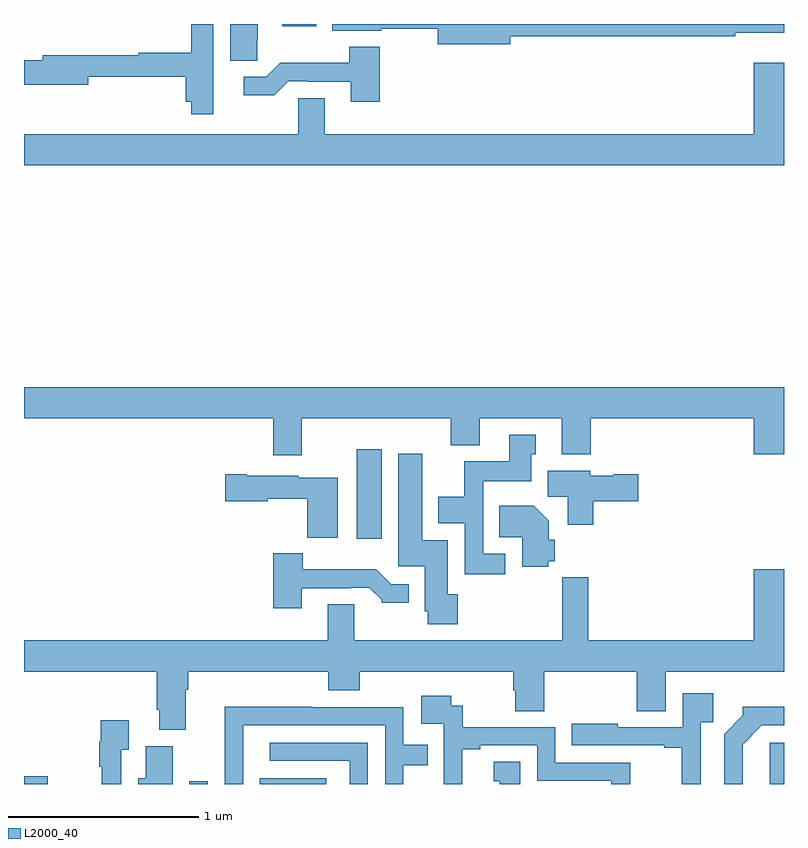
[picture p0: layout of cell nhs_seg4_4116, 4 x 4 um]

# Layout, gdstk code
import gdstk
lib = gdstk.Library(unit=1e-6, precision=1e-09)
def R(c, l, rs):  # rectangles x0, y0, x1, y1
    for r in rs: c.add(gdstk.rectangle(r[:2], r[2:], *l))
def P(c, l, *ps):  # polygons
    for p in ps: c.add(gdstk.Polygon(p, *l))
L2000_40 = (2000, 40)

nhs_seg4_4116 = lib.new_cell('nhs_seg4_4116')
R(nhs_seg4_4116, L2000_40, [(329,790.9,329.125,790.94), (329.871,790.9,329.967,790.915), (330.242,790.9,330.592,790.93), (332.924,790.9,333,791.116), (330.752,792.192,330.883,792.661), (330.36,794.888,330.537,794.9)])
P(nhs_seg4_4116, L2000_40, [(331.558,794.836),(332.744,794.836),(332.744,794.855),(333,794.855),(333,794.9),(330.622,794.9),(330.622,794.864),(330.88,794.864),(330.88,794.875),(331.178,794.875),(331.178,794.794),(331.558,794.794)],
  [(329.997,794.9),(329.881,794.9),(329.881,794.75),(329.604,794.75),(329.604,794.735),(329.099,794.735),(329.099,794.709),(329,794.709),(329,794.579),(329.338,794.579),(329.338,794.622),(329.852,794.622),(329.852,794.492),(329.881,794.492),(329.881,794.424),(329.997,794.424)],
  [(330.228,794.818),(330.229,794.818),(330.229,794.9),(330.086,794.9),(330.086,794.707),(330.228,794.707)],
  [(330.872,794.779),(330.712,794.779),(330.712,794.695),(330.349,794.695),(330.276,794.622),(330.156,794.622),(330.156,794.525),(330.317,794.525),(330.39,794.598),(330.49,794.598),(330.49,794.595),(330.719,794.595),(330.719,794.49),(330.872,794.49)],
  [(333,794.695),(332.84,794.695),(332.84,794.32),(330.583,794.32),(330.583,794.51),(330.444,794.51),(330.444,794.32),(329,794.32),(329,794.156),(333,794.156)],
  [(330.463,792.824),(331.247,792.824),(331.247,792.683),(331.399,792.683),(331.399,792.824),(331.829,792.824),(331.829,792.635),(331.982,792.635),(331.982,792.824),(332.84,792.824),(332.84,792.636),(333,792.636),(333,792.988),(329,792.988),(329,792.824),(330.311,792.824),(330.311,792.63),(330.463,792.63)],
  [(331.534,792.111),(331.416,792.111),(331.416,792.494),(331.669,792.494),(331.669,792.636),(331.693,792.636),(331.693,792.739),(331.553,792.739),(331.553,792.598),(331.318,792.598),(331.318,792.412),(331.181,792.412),(331.181,792.272),(331.32,792.272),(331.32,792.003),(331.534,792.003)],
  [(331.283,791.898),(331.231,791.898),(331.231,792.184),(331.096,792.184),(331.096,792.637),(330.971,792.637),(330.971,792.045),(331.109,792.045),(331.109,791.808),(331.126,791.808),(331.126,791.742),(331.283,791.742)],
  [(331.997,792.389),(332.233,792.389),(332.233,792.531),(332.1,792.531),(332.1,792.523),(331.98,792.523),(331.98,792.55),(331.757,792.55),(331.757,792.412),(331.862,792.412),(331.862,792.264),(331.997,792.264)],
  [(330.652,792.511),(330.444,792.511),(330.444,792.523),(330.172,792.523),(330.172,792.531),(330.06,792.531),(330.06,792.389),(330.282,792.389),(330.282,792.401),(330.49,792.401),(330.49,792.197),(330.652,792.197)],
  [(331.758,792.072),(331.793,792.072),(331.793,792.186),(331.762,792.186),(331.762,792.286),(331.684,792.364),(331.501,792.364),(331.501,792.2),(331.622,792.2),(331.622,792.043),(331.758,792.043)],
  [(330.463,791.931),(330.719,791.931),(330.719,791.934),(330.818,791.934),(330.882,791.87),(330.882,791.855),(331.024,791.855),(331.024,791.952),(330.933,791.952),(330.855,792.031),(330.466,792.031),(330.466,792.115),(330.311,792.115),(330.311,791.826),(330.463,791.826)],
  [(329.851,791.396),(329.864,791.396),(329.864,791.492),(330.602,791.492),(330.602,791.393),(330.767,791.393),(330.767,791.492),(331.574,791.492),(331.574,791.394),(331.586,791.394),(331.586,791.284),(331.739,791.284),(331.739,791.492),(332.225,791.492),(332.225,791.284),(332.377,791.284),(332.377,791.492),(333,791.492),(333,792.031),(332.84,792.031),(332.84,791.656),(331.97,791.656),(331.97,791.989),(331.834,791.989),(331.834,791.656),(330.739,791.656),(330.739,791.846),(330.599,791.846),(330.599,791.656),(329,791.656),(329,791.492),(329.699,791.492),(329.699,791.29),(329.711,791.29),(329.711,791.185),(329.851,791.185)],
  [(332.562,791.225),(332.627,791.225),(332.627,791.377),(332.466,791.377),(332.466,791.199),(332.125,791.199),(332.125,791.218),(331.882,791.218),(331.882,791.103),(332.369,791.103),(332.369,791.091),(332.461,791.091),(332.461,790.9),(332.562,790.9)],
  [(331.306,791.083),(331.402,791.083),(331.402,791.103),(331.701,791.103),(331.701,790.917),(332.091,790.917),(332.091,790.9),(332.192,790.9),(332.192,791.013),(331.797,791.013),(331.797,791.199),(331.31,791.199),(331.31,791.313),(331.248,791.313),(331.248,791.365),(331.092,791.365),(331.092,791.217),(331.209,791.217),(331.209,790.913),(331.208,790.913),(331.208,790.9),(331.306,790.9)],
  [(330.153,791.208),(330.9,791.208),(330.9,790.9),(330.997,790.9),(330.997,790.998),(331.124,790.998),(331.124,791.106),(330.996,791.106),(330.996,791.304),(330.518,791.304),(330.518,791.306),(330.056,791.306),(330.056,791.002),(330.057,791.002),(330.057,790.9),(330.153,790.9)],
  [(332.782,791.107),(332.883,791.208),(333,791.208),(333,791.306),(332.784,791.306),(332.784,791.261),(332.685,791.162),(332.685,790.9),(332.782,790.9)],
  [(329.511,791.08),(329.551,791.08),(329.551,791.236),(329.403,791.236),(329.403,791.123),(329.395,791.123),(329.395,790.991),(329.41,790.991),(329.41,790.9),(329.511,790.9)],
  [(330.81,791.118),(330.294,791.118),(330.294,791.022),(330.714,791.022),(330.714,790.9),(330.81,790.9)],
  [(329.782,791.1),(329.642,791.1),(329.642,790.93),(329.6,790.93),(329.6,790.9),(329.782,790.9)],
  [(331.612,791.018),(331.472,791.018),(331.472,790.915),(331.505,790.915),(331.505,790.9),(331.612,790.9)])

lib.write_gds('nhs_seg4_4116.gds')
